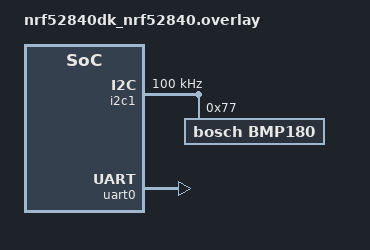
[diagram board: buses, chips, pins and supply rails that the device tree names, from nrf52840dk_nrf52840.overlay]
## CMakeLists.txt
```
cmake_minimum_required(VERSION 3.20.0)

list(APPEND ZEPHYR_EXTRA_MODULES
  ${CMAKE_CURRENT_SOURCE_DIR}/drivers
)


find_package(Zephyr REQUIRED HINTS $ENV{ZEPHYR_BASE})

project(pressure_sensor_driver)

target_sources(app PRIVATE src/main.c)
zephyr_include_directories(drivers)
```

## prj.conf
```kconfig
CONFIG_I2C=y
CONFIG_SENSOR=y
CONFIG_PWM=y
CONFIG_CBPRINTF_FP_SUPPORT=y
CONFIG_NCS_SAMPLES_DEFAULTS=y
CONFIG_UART_LINE_CTRL=y
CONFIG_BMP180=y
```

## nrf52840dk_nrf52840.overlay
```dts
// To get started, press Ctrl+Space to bring up the completion menu and view the available nodes.

// You can also use the buttons in the sidebar to perform actions on nodes.
// Actions currently available include:

// * Enabling / disabling the node
// * Adding the bus to a bus
// * Removing the node
// * Connecting ADC channels

// For more help, browse the DeviceTree documentation at https://docs.zephyrproject.org/latest/guides/dts/index.html
// You can also visit the nRF DeviceTree extension documentation at https://nrfconnect.github.io/vscode-nrf-connect/devicetree/nrfdevicetree.html
&i2c1 {
    status ="okay";
	clock-frequency = <I2C_BITRATE_STANDARD>;
    bmp180@77 {
		status = "okay";
		compatible = "bosch,bmp180";
		reg = <0x77>;
		model = "bmp180";
	};

};

&uart0 {
	status = "okay";
	hw-flow-control;
};

&pinctrl {
    i2c1_default: i2c1_default {
		group1 {
			psels = <NRF_PSEL(TWIM_SDA, 0, 30)>,
				<NRF_PSEL(TWIM_SCL, 0, 31)>;
            bias-pull-up;
		};
	};
};
```

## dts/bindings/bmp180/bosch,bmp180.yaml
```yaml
description: Bosch Barometer

compatible: "bosch,bmp180"

include: i2c-device.yaml

properties:
  model:
    type: string
    required: true
    description: |
      The sensor model in use
    enum:
        - "bmp180"
```

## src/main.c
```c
#include <zephyr/kernel.h>
#include <zephyr/device.h>
#include <zephyr/drivers/i2c.h>
#include <zephyr/sys/printk.h>
#include <zephyr/logging/log.h>
#include <zephyr/drivers/sensor.h>
#include <sensor/bmp180/bmp180.h>
#include <math.h>



LOG_MODULE_REGISTER(main);

static const struct device *i2c_dev;
static const struct device *bmp180_dev;


int main(void)
{
    int ret;
    struct sensor_value temp, press;
	struct sensor_value altitude = {0, 0};

    printk("BMP180 sensor example started.\n");
    // Initialize I2C device
    i2c_dev = DEVICE_DT_GET(DT_NODELABEL(i2c1));
    if (!i2c_dev) {
        printk("I2C: Device driver not found.\n");
        return 0;
    }
    
    // Initialize BMP180 sensor device
    bmp180_dev = DEVICE_DT_GET_ANY(bosch_bmp180);
    if (!bmp180_dev) {
        printk("BMP180: Device driver not found.\n");
        return 0;
    }

    // Set measurement accuracy mode if needed
    // (Assuming the driver supports a set_mode function, otherwise skip this part)
    // struct sensor_value mode;
    // mode.val1 = BMP180_MODE_HIGH_RESOLUTION;
    // ret = sensor_attr_set(bmp180_dev, SENSOR_CHAN_ALL, SENSOR_ATTR_CONFIGURATION, &mode);
    // if (ret) {
    //     printk("Failed to set BMP180 mode: %s\n", strerror(-ret));
    //     return 0;
    // }

    // Fetch a sample from the BMP180 sensor
	while (true) {
		// do {
			ret = bmp180_sample_fetch(bmp180_dev, SENSOR_CHAN_ALL);
			if (ret) {
				printk("Failed to fetch sample from BMP180: %s\n", strerror(-ret));
				return 0;
			}

			// Get pressure [Pa] and temperature [C] measurement
			ret = bmp180_channel_get(bmp180_dev, SENSOR_CHAN_AMBIENT_TEMP, &temp);
			if (ret) {
				printk("Failed to get temperature: %d\n", ret);
				return 0;
			}

			ret = bmp180_channel_get(bmp180_dev, SENSOR_CHAN_PRESS, &press);
			if (ret) {
				printk("Failed to get pressure: %d\n", ret);
				return 0;
			}

			// Calculate estimated altitude [m]
			altitude.val1 = 44330 * (1.0 - pow((press.val1 / 101325.0), 0.1903));
    		
			double temperature = temp.val1 + (temp.val2 / 1000000.0);
			double pressure = press.val1 + (press.val2 / 1000000.0);

			printk("Temperature: %.2f C, Pressure: %.2f Pa, Altitude: %d.%02d m\n",
				temperature,
				pressure,
				altitude.val1, altitude.val2);
		// } while (false);

		k_sleep(K_MSEC(1000));
	}
}
```
